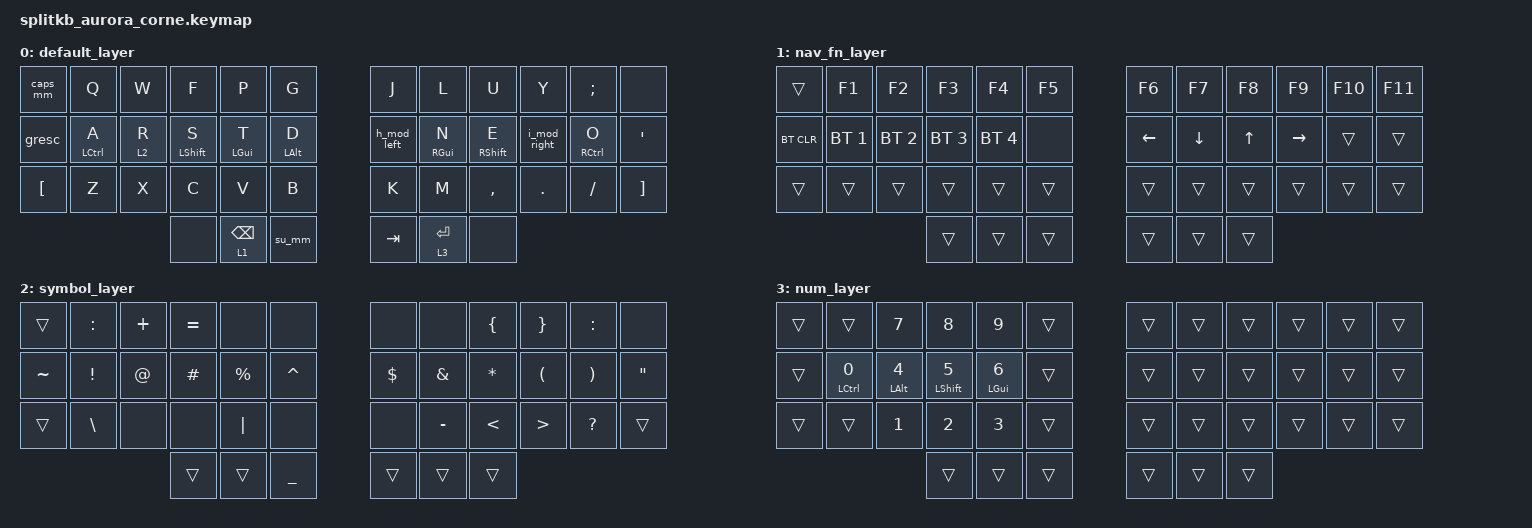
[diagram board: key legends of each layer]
/*
 * Copyright (c) 2020 The ZMK Contributors
 *
 * SPDX-License-Identifier: MIT
 */

#include <behaviors.dtsi>
#include <dt-bindings/zmk/keys.h>
#include <dt-bindings/zmk/bt.h>

#define KEYS_L < \
     0  1  2  3  4  5 \
    12 13 14 15 16 17 \
    24 25 26 27 28 29 \
            36 37 38  \
>

#define KEYS_R < \
     6  7  8  9 10 11 \
    18 19 20 21 22 23 \
    30 31 32 33 34 35 \
             39 40 41 \
>

&caps_word {
    continue-list = <BACKSPACE UNDERSCORE MINUS LSHIFT>;
};

/ {
    macros {
        kc_capp: kc_capp {
            label = "kc_capp";
            compatible = "zmk,behavior-macro";
            #binding-cells = <0>;
            bindings
                = <&macro_press &kp LGUI &kp LSHIFT>
                , <&macro_tap &kp N4>
                , <&macro_release &kp LGUI &kp LSHIFT>
                ;
        };
        kc_cpy: kc_cpy {
            label = "kc_cpy";
            compatible = "zmk,behavior-macro";
            #binding-cells = <0>;
            bindings
                = <&macro_press &kp LGUI &kp LSHIFT &kp LCTRL>
                , <&macro_tap &kp N4>
                , <&macro_release &kp LGUI &kp LSHIFT &kp LCTRL>
                ;
        };
        colon: colon {
            label = "colon";
            compatible = "zmk,behavior-macro";
            #binding-cells = <0>;
            wait-ms = <2>;
            tap-ms = <1>;
            bindings
                = <&macro_press &kp LSHIFT>
                , <&macro_tap &kp P>
                , <&macro_release &kp LSHIFT>
                ;
        };
    };
    behaviors {
        rhm: r_homerow_mods {
            compatible = "zmk,behavior-hold-tap";
            label = "R_HOMEROW_MODS";
            #binding-cells = <2>;
            flavor = "balanced";
            tapping-term-ms = <280>;
            quick-tap-ms = <200>;
            require-prior-idle-ms = <150>;
            bindings = <&kp>, <&kp>;
            hold-trigger-key-positions = KEYS_L;
            hold-trigger-on-release;
        };
        rhms: r_homerow_mod_shift {
            compatible = "zmk,behavior-hold-tap";
            label = "R_HOMEROW_MOD_SHIFT";
            #binding-cells = <2>;
            flavor = "balanced";
            tapping-term-ms = <200>;
            quick-tap-ms = <200>;
            bindings = <&kp>, <&kp>;
            hold-trigger-key-positions = KEYS_L;
            hold-trigger-on-release;
        };
        rhl: r_homerow_layer_tap {
            compatible = "zmk,behavior-hold-tap";
            label = "R_HOMEROW_LAYER_TAP";
            #binding-cells = <2>;
            flavor = "balanced";
            tapping-term-ms = <280>;
            quick-tap-ms = <200>;
            require-prior-idle-ms = <150>;
            bindings = <&mo>, <&kp>;
            hold-trigger-key-positions = KEYS_L;
            hold-trigger-on-release;
        };
        lhm: l_homerow_mods {
            compatible = "zmk,behavior-hold-tap";
            label = "L_HOMEROW_MODS";
            #binding-cells = <2>;
            flavor = "balanced";
            tapping-term-ms = <280>;
            quick-tap-ms = <200>;
            require-prior-idle-ms = <150>;
            bindings = <&kp>, <&kp>;
            hold-trigger-key-positions = KEYS_R;
            hold-trigger-on-release;
        };
        lhms: l_homerow_mod_shift {
            compatible = "zmk,behavior-hold-tap";
            label = "L_HOMEROW_MOD_SHIFT";
            #binding-cells = <2>;
            flavor = "balanced";
            tapping-term-ms = <200>;
            quick-tap-ms = <200>;
            bindings = <&kp>, <&kp>;
            hold-trigger-key-positions = KEYS_R;
            hold-trigger-on-release;
        };
        lhl: l_homerow_layer_tap {
            compatible = "zmk,behavior-hold-tap";
            label = "L_HOMEROW_LAYER_TAP";
            #binding-cells = <2>;
            flavor = "balanced";
            tapping-term-ms = <280>;
            quick-tap-ms = <200>;
            require-prior-idle-ms = <150>;
            bindings = <&mo>, <&kp>;
            hold-trigger-key-positions = KEYS_R;
            hold-trigger-on-release;
        };
        h_mod_left: h_mod_left {
            compatible = "zmk,behavior-mod-morph";
            label = "ALT_LEFT";
            #binding-cells = <0>;
            bindings = <&rhm RALT H>, <&kp LEFT>;
            mods = <(MOD_LALT|MOD_LGUI)>;
            keep-mods = <(MOD_LALT|MOD_LGUI)>;
        };
        i_mod_right: i_mod_right {
            compatible = "zmk,behavior-mod-morph";
            label = "ALT_RIGHT";
            #binding-cells = <0>;
            bindings = <&rhl 2 I>, <&kp RIGHT>;
            mods = <(MOD_LALT|MOD_LGUI)>;
            keep-mods = <(MOD_LALT|MOD_LGUI)>;
        };
        caps_mm: caps_mm {
            compatible = "zmk,behavior-mod-morph";
            label = "CAPS_MOD_MORPH";
            #binding-cells = <0>;
            bindings = <&caps_word>, <&kp CAPS>;
            mods = <(MOD_LSFT|MOD_RSFT)>;
        };
        su_mm: su_mm {
            compatible = "zmk,behavior-mod-morph";
            label = "SPACE_UNDERSCORE_MOD_MORPH";
            #binding-cells = <0>;
            bindings = <&kp SPACE>, <&kp UNDERSCORE>;
            mods = <(MOD_LSFT|MOD_RSFT)>;
        };
    };
    keymap {
        compatible = "zmk,keymap";

        default_layer {
            // ---------------------------------------------------------------------------------
            // | CAPS |  Q  |  W  |  F  |  P  |  G  |   |  J   |  L   |  U  |  Y  |  ;  | NUM |
            // | ESC  |  A  |  R  |  S  |  T  |  D  |   |  H   |  N   |  E  |  I  |  O  |  '  |
            // |  [   |  Z  |  X  |  C  |  V  |  B  |   |  N   |  M   |  ,  |  .  |  /  |  ]  |
            //                    |     | TAB | SPC |   | BKSP | RET  |     |
            bindings = <
               &caps_mm  &kp Q        &kp W     &kp F           &kp P        &kp G          &kp J        &kp L        &kp U           &kp Y         &kp SEMI      &none
               &gresc    &lhm LCTRL A &lhl 2 R  &lhms LSHIFT S  &lhm LGUI T  &lhm LALT D    &h_mod_left  &rhm RGUI N  &rhms RSHIFT E  &i_mod_right  &rhm RCTRL O  &kp SQT
               &kp LBKT  &kp Z        &kp X     &kp C           &kp V        &kp B          &kp K        &kp M        &kp COMMA       &kp DOT       &kp FSLH      &kp RBKT
                                                &none           &lt 1 BSPC   &su_mm         &kp TAB      &lt 3 RET    &none
            >;
        };
        nav_fn_layer {
            // ---------------------------------------------------------------------------------
            // |       |  F1 |  F2 |  F3 |  F4 |  F5 |   |  F6 |  F7 |  F8 |  F9 |  F10 |  F11 |
            // | BTCLR | BT1 | BT2 | BT3 | BT4 |     |   |  <  |   v |  ^  |   > |      |      |
            // |       |     |     |     |     |     |   |     |     |     |     |      |      |
            //                     |     |     |     |   |     |     |     |
            bindings = <
               &trans      &kp F1        &kp F2        &kp F3        &kp F4       &kp F5    &kp F6    &kp F7    &kp F8    &kp F9     &kp F10  &kp F11
               &bt BT_CLR  &bt BT_SEL 1  &bt BT_SEL 2  &bt BT_SEL 3 &bt BT_SEL 4  &none     &kp LEFT  &kp DOWN  &kp UP    &kp RIGHT  &trans   &trans
               &trans      &trans        &trans        &trans        &trans       &trans    &trans    &trans    &trans    &trans     &trans   &trans
                          	                         &trans        &trans       &trans    &trans    &trans    &trans
            >;
        };
        symbol_layer {
            // -----------------------------------------------------------------------------
            // |     |  :  |  +  |  =  |     |     |   |      |     |  {  |  }  |  :  |    |
            // |  ~  |  !  |  @  |  #  |  %  |  ^  |   |   $  |  &  |  *  |  (  |  )  |  " |
            // |  [  |  \  |     |     |  |  |     |   |      |  -  |  <  |  >  |  ?  |  ] |
            //                   |     | TAB |  _  |   | BKSP | RET |     |
            bindings = <
               &trans     &kp COLON &kp PLUS  &kp EQUAL  &none      &none        &none     &none      &kp LBRC   &kp RBRC  &kp COLON  &none
               &kp TILDE  &kp EXCL  &kp AT    &kp HASH   &kp PRCNT  &kp CARET    &kp DLLR  &kp AMPS   &kp ASTRK  &kp LPAR  &kp RPAR   &kp DQT
               &trans     &kp BSLH  &none     &none      &kp PIPE   &none        &none     &kp MINUS  &kp LT     &kp GT    &kp QMARK  &trans
                    	                     &trans     &trans     &kp UNDER    &trans    &trans     &trans
            >;
        };
        num_layer {
            // -------------------------------------------------------------------------
            // |    |     |   7 |   8  |   9  |      |   |    |    |    |    |    |    |
            // |    |   0 |   4 |   5  |   6  |      |   |    |    |    |    |    |    |
            // |    |     |   1 |   2  |   3  |      |   |    |    |    |    |    |    |
            //                  |      |      |      |   |    |    |    |
            bindings = <
               &trans    &trans         &kp N7        &kp N8           &kp N9        &trans    &trans  &trans  &trans  &trans  &trans  &trans
               &trans    &lhm LCTRL N0  &lhm LALT N4  &lhms LSHIFT N5  &lhm LGUI N6  &trans    &trans  &trans  &trans  &trans  &trans  &trans
               &trans    &trans         &kp N1        &kp N2           &kp N3        &trans    &trans  &trans  &trans  &trans  &trans  &trans
                                                      &trans           &trans        &trans    &trans  &trans  &trans
            >;
        };
    };
};
